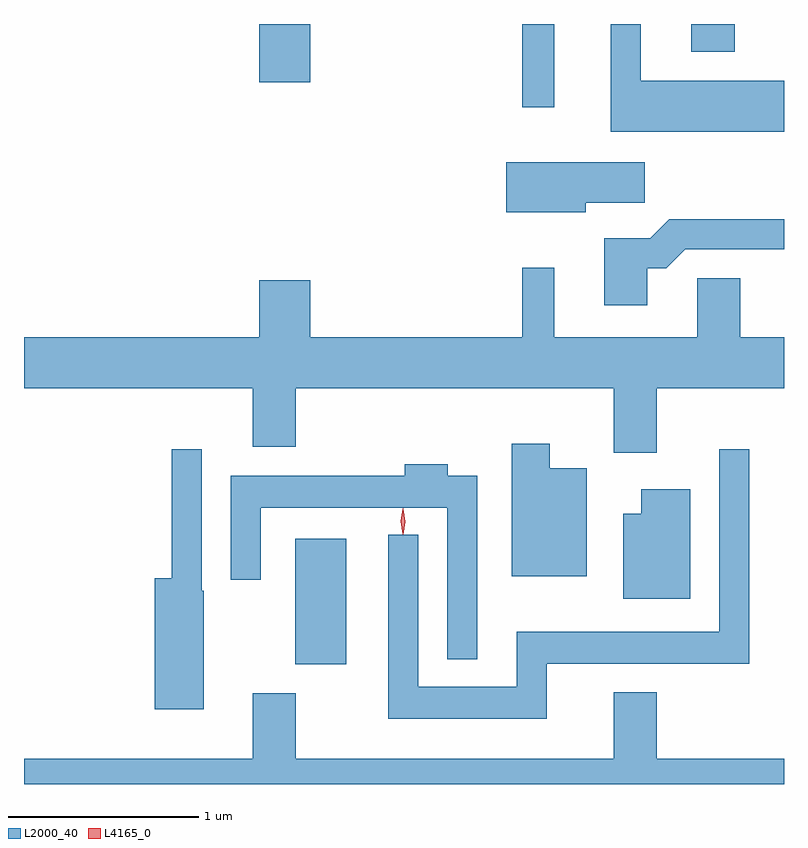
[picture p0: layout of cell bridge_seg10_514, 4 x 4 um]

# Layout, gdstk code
import gdstk
lib = gdstk.Library(unit=1e-6, precision=1e-09)
def R(c, l, rs):  # rectangles x0, y0, x1, y1
    for r in rs: c.add(gdstk.rectangle(r[:2], r[2:], *l))
def P(c, l, *ps):  # polygons
    for p in ps: c.add(gdstk.Polygon(p, *l))
L2000_40 = (2000, 40)
L4165_0 = (4165, 0)

bridge_seg10_514 = lib.new_cell('bridge_seg10_514')
R(bridge_seg10_514, L2000_40, [(774.706,2167.961,774.974,2168.624), (775.901,2170.893,776.069,2171.332), (774.516,2171.026,774.784,2171.332), (776.791,2171.186,777.019,2171.332)])
P(bridge_seg10_514, L2000_40, [(777.278,2171.034),(776.524,2171.034),(776.524,2171.332),(776.366,2171.332),(776.366,2170.766),(777.278,2170.766)],
  [(776.234,2170.391),(776.544,2170.391),(776.544,2170.604),(775.816,2170.604),(775.816,2170.341),(776.234,2170.341)],
  [(776.559,2170.046),(776.657,2170.046),(776.757,2170.146),(777.278,2170.146),(777.278,2170.304),(776.674,2170.304),(776.574,2170.204),(776.331,2170.204),(776.331,2169.851),(776.559,2169.851)],
  [(776.609,2169.416),(777.278,2169.416),(777.278,2169.684),(777.049,2169.684),(777.049,2169.994),(776.821,2169.994),(776.821,2169.684),(776.069,2169.684),(776.069,2170.048),(775.901,2170.048),(775.901,2169.684),(774.784,2169.684),(774.784,2169.984),(774.516,2169.984),(774.516,2169.684),(773.278,2169.684),(773.278,2169.416),(774.481,2169.416),(774.481,2169.106),(774.709,2169.106),(774.709,2169.416),(776.381,2169.416),(776.381,2169.076),(776.609,2169.076)],
  [(776.239,2168.994),(776.044,2168.994),(776.044,2169.124),(775.846,2169.124),(775.846,2168.426),(776.239,2168.426)],
  [(776.029,2167.966),(777.094,2167.966),(777.094,2169.093),(776.936,2169.093),(776.936,2168.134),(775.871,2168.134),(775.871,2167.844),(775.354,2167.844),(775.354,2168.643),(775.196,2168.643),(775.196,2167.676),(776.029,2167.676)],
  [(774.224,2168.35),(774.214,2168.35),(774.214,2169.093),(774.056,2169.093),(774.056,2168.414),(773.966,2168.414),(773.966,2167.726),(774.224,2167.726)],
  [(775.664,2168.954),(775.509,2168.954),(775.509,2169.014),(775.281,2169.014),(775.281,2168.954),(774.366,2168.954),(774.366,2168.408),(774.524,2168.408),(774.524,2168.786),(775.506,2168.786),(775.506,2167.988),(775.664,2167.988)],
  [(776.784,2168.884),(776.526,2168.884),(776.526,2168.754),(776.431,2168.754),(776.431,2168.306),(776.784,2168.306)],
  [(777.278,2167.464),(776.609,2167.464),(776.609,2167.814),(776.381,2167.814),(776.381,2167.464),(774.709,2167.464),(774.709,2167.809),(774.481,2167.809),(774.481,2167.464),(773.278,2167.464),(773.278,2167.332),(777.278,2167.332)])
P(bridge_seg10_514, L4165_0, [(775.274,2168.644),(775.265,2168.713),(775.274,2168.782),(775.275,2168.783),(775.275,2168.782),(775.285,2168.713),(775.275,2168.644),(775.275,2168.644)],
  [(775.272,2168.647),(775.272,2168.647),(775.262,2168.714),(775.272,2168.78),(775.272,2168.78),(775.273,2168.78),(775.282,2168.714),(775.273,2168.647)])

lib.write_gds('bridge_seg10_514.gds')
